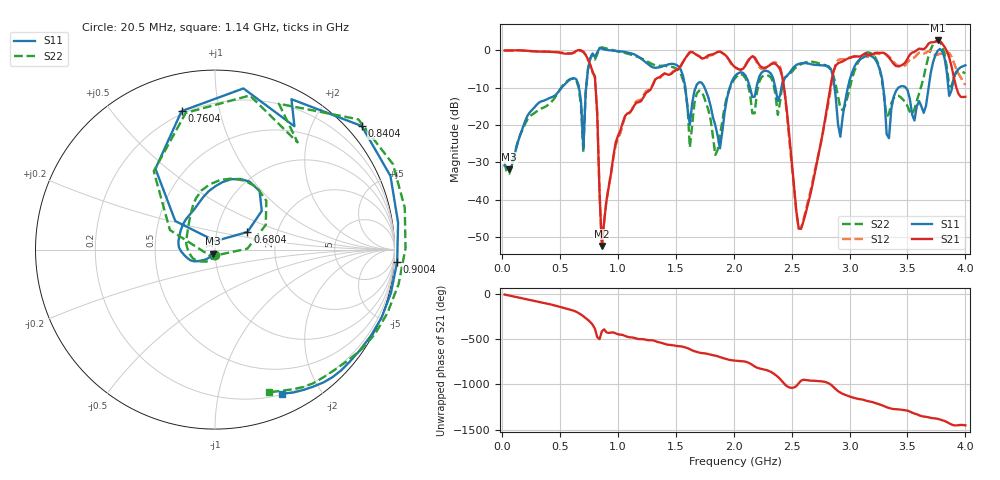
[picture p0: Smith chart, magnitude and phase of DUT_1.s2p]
# Hz S DB R 50
! CMT, S5180, 51801906, 22.3.3/1
! Date: 27/01/2023 17:17:46
! Data: Format (Calibration Info)
! Freq	S11:dB/Ang(F2)	S21:dB/Ang(F2)	S12:dB/Ang(F2)	S22:dB/Ang(F2)
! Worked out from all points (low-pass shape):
!   200 points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, 20.5 MHz to 4 GHz, reference 50 ohm
!   highest |S21| = 2.68 dB at 3.76 GHz (marker M1); lowest = -52.5 dB at 860.4 MHz (marker M2)
!   |S21| within 3 dB of the highest: start of sweep to 327.3 MHz; 3.563 GHz to 3.842 GHz (278.4 MHz wide, 7.52 % of centre)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
!   lowest |S11| = -31.9 dB at 60.49 MHz (marker M3), VSWR 1.05, Z = 48.9 - j2.27 ohm
!   |S11| at or under -10 dB: start of sweep to 512.6 MHz; 1.748 GHz to 1.965 GHz (217.1 MHz wide, 11.7 % of centre); 3.485 GHz to 3.683 GHz (197.3 MHz wide, 5.5 % of centre)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
!   |S22| runs from -33.1 to 2.6 dB; largest |S21 - S12| = 0.64
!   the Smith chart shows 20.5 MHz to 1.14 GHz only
!   S11 on the Smith chart (normalised r, x): 20.5 MHz: 0.99, -0.06; 680.4 MHz: 1.41, +0.29; 760.4 MHz: 0.18, +0.77; 840.4 MHz: -0.28, +2.71; 900.4 MHz: -7, -28; 1.14 GHz: 0.21, -1.55
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2.04975e7  -30.92 -101.6  -0.00 -4.1  -0.03 -3.9  -30.14 -88.7
6.04925e7  -31.87 -114.3  -0.01 -14.8  -0.04 -14.8  -33.08 -91.7
4.0045e8  -12.86 141.9  -0.35 -108.0  -0.28 -107.0  -14.48 143.2
6.80415e8  -13.74 28.5  0.03 134.2  -0.11 135.4  -14.86 1.7
7.004125e8  -26.46 88.4  -0.32 116.0  -0.42 117.0  -27.22 -119.0
7.60405e8  -2.01 103.6  -3.82 50.8  -4.07 50.3  -2.17 102.1
8.004e8  -1.75 57.2  -7.03 -22.8  -7.12 -21.8  -2.45 52.4
8.40395e8  0.58 40.1  -38.26 -138.1  -38.23 -138.9  0.66 42.3
8.603925e8  0.51 22.7  -52.47 -51.4  -52.51 -52.6  0.83 25.7
9.003875e8  0.15 -3.8  -40.25 -63.1  -40.12 -64.1  0.52 0.4
1.140358e9  -1.05 -65.0  -14.73 -124.4  -14.40 -125.1  -1.41 -69.3
1.36033e9  -4.50 -143.8  -7.15 -175.3  -7.42 -176.3  -4.13 -139.5
1.84027e9  -20.08 -50.6  -0.76 39.0  -0.89 39.7  -28.04 -115.0
2.020248e9  -6.54 170.1  -4.67 -17.5  -4.72 -15.5  -7.10 169.4
2.360205e9  -10.19 -145.1  -3.61 -175.0  -3.21 -173.1  -12.00 -159.4
2.56018e9  -3.61 138.6  -47.69 92.6  -47.86 95.6  -4.01 142.3
2.680165e9  -3.78 133.9  -35.94 121.4  -35.06 120.1  -3.04 130.8
2.88014e9  -12.53 37.6  -4.04 26.8  -3.60 39.1  -9.23 77.7
3.12011e9  -1.87 32.7  -1.02 -90.6  -1.70 -94.7  -1.16 22.1
3.340082e9  -23.55 119.8  -1.92 179.2  -1.66 -174.4  -16.95 88.2
3.76003e9  -0.13 5.5  2.68 59.3  -1.13 37.3  2.64 -25.1
4e9  -3.98 60.8  -12.43 -13.2  -9.25 -27.5  -6.11 72.2
